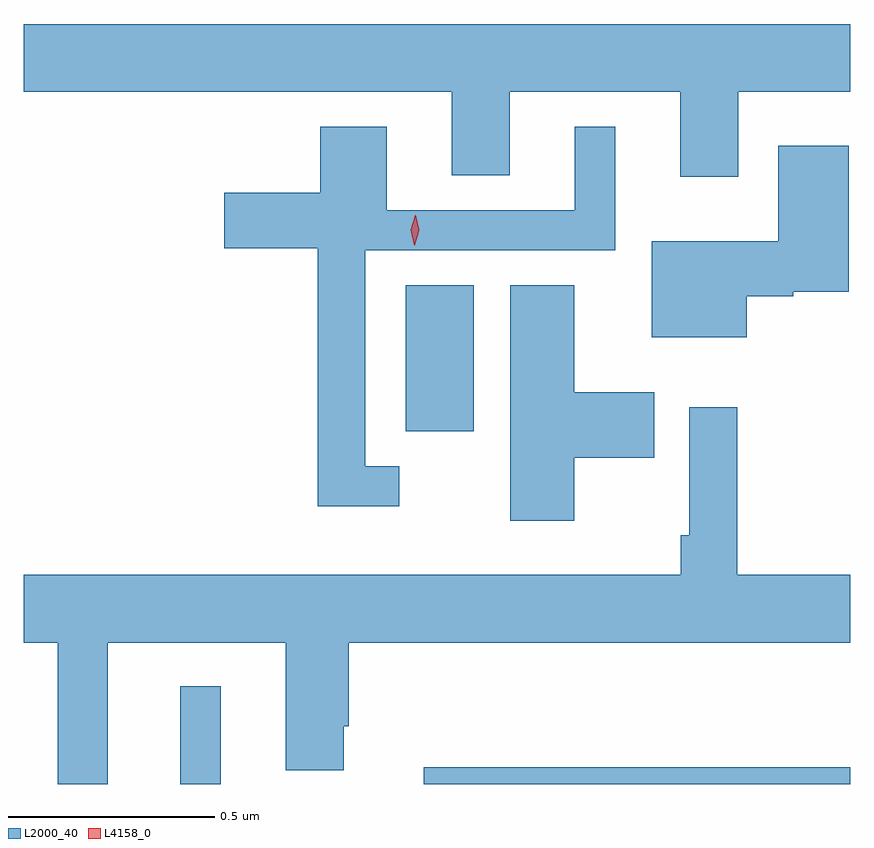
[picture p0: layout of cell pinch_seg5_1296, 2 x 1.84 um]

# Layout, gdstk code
import gdstk
lib = gdstk.Library(unit=1e-6, precision=1e-09)
def R(c, l, rs):  # rectangles x0, y0, x1, y1
    for r in rs: c.add(gdstk.rectangle(r[:2], r[2:], *l))
def P(c, l, *ps):  # polygons
    for p in ps: c.add(gdstk.Polygon(p, *l))
L2000_40 = (2000, 40)
L4158_0 = (4158, 0)

pinch_seg5_1296 = lib.new_cell('pinch_seg5_1296')
R(pinch_seg5_1296, L2000_40, [(459.602,865.742,459.7,865.978), (460.191,865.742,461.223,865.783), (460.148,866.595,460.312,866.948)])
P(pinch_seg5_1296, L2000_40, [(460.951,867.416),(461.223,867.416),(461.223,867.58),(459.223,867.58),(459.223,867.416),(460.259,867.416),(460.259,867.214),(460.399,867.214),(460.399,867.416),(460.811,867.416),(460.811,867.21),(460.951,867.21)],
  [(460.132,866.511),(460.05,866.511),(460.05,867.033),(460.654,867.033),(460.654,867.331),(460.556,867.331),(460.556,867.129),(460.102,867.129),(460.102,867.331),(459.941,867.331),(459.941,867.172),(459.708,867.172),(459.708,867.038),(459.934,867.038),(459.934,866.414),(460.132,866.414)],
  [(460.972,866.921),(461.085,866.921),(461.085,866.933),(461.219,866.933),(461.219,867.286),(461.048,867.286),(461.048,867.055),(460.742,867.055),(460.742,866.822),(460.972,866.822)],
  [(460.555,866.531),(460.748,866.531),(460.748,866.689),(460.555,866.689),(460.555,866.948),(460.4,866.948),(460.4,866.379),(460.555,866.379)],
  [(459.427,866.084),(459.857,866.084),(459.857,865.775),(459.997,865.775),(459.997,865.882),(460.01,865.882),(460.01,866.084),(461.223,866.084),(461.223,866.248),(460.949,866.248),(460.949,866.653),(460.833,866.653),(460.833,866.344),(460.813,866.344),(460.813,866.248),(459.223,866.248),(459.223,866.084),(459.306,866.084),(459.306,865.742),(459.427,865.742)])
P(pinch_seg5_1296, L4158_0, [(460.168,867.045),(460.168,867.045),(460.16,867.082),(460.171,867.117),(460.171,867.117),(460.172,867.117),(460.18,867.081),(460.169,867.045)])

lib.write_gds('pinch_seg5_1296.gds')
